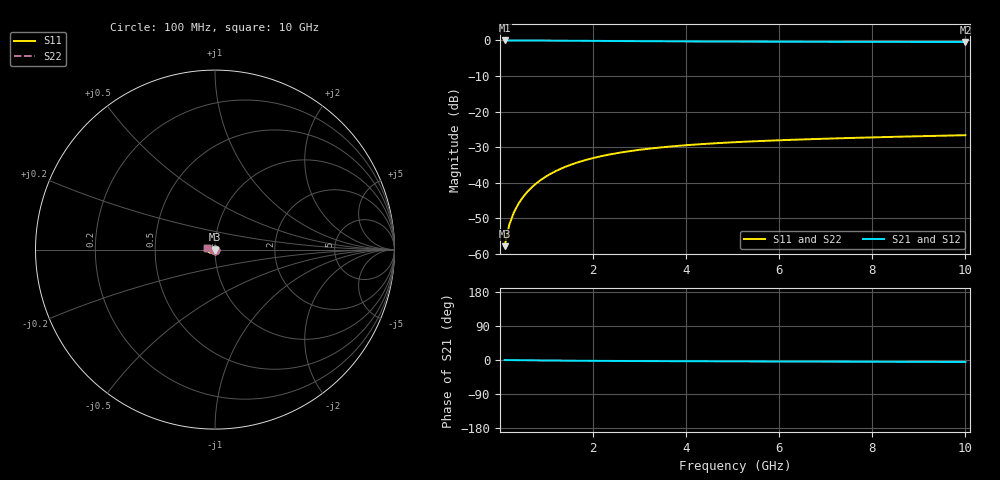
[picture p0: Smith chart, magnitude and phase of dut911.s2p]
! Touchstone file exported from HFSS 2024.1.0
!  File:  C:/UserFiles/LocalFiles/RDL_TSV_Batchsim/temp_TSV1_911_1779945129.aedt
!  Generated:  01:19:01 PM May 28, 2026
!  Design:  TSV1
!  Project:  temp_TSV1_911_1779945129
!  Setup:  Setup1
!  Solution:  Sweep
! Variables:
!  dtsv = 11.09um
!  hbump = 3um
!  htsv = 80.21um
!  lrdl = 252.1521522um
!  p = 40
!  p1 = 58.6um
!  t = 500um
!  trdl = 3um
!  wrdl = 24.89489489um
# GHz S MA R 50.000000
! Terminal data exported
! Port[1] = TSV22_T1
! Port[2] = TSV22_T2
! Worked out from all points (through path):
!   100 points, 100 MHz to 10 GHz, reference 50 ohm
!   highest |S21| = 0.00 dB at 100 MHz (marker M1); lowest = -0.4 dB at 10 GHz (marker M2)
!   lowest |S11| = -57.8 dB at 100 MHz (marker M3), VSWR 1.00, Z = 50 - j0.129 ohm
!   |S11| at or under -10 dB: start of sweep to end of sweep
!   |S22| runs from -57.8 to -26.6 dB; largest |S21 - S12| = 7e-15
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0.1  0.001289 -86.9  0.9998 -0.1  0.9998 -0.1  0.001289 -86.9
! Gamma 0 0 0 0
! Port Impedance 50 0 50 0
0.2  0.00257 -91.3  0.9997 -0.3  0.9997 -0.3  0.00257 -91.3
0.3  0.00385 -94.2  0.9994 -0.4  0.9994 -0.4  0.00385 -94.2
0.4  0.005123 -96.6  0.9991 -0.5  0.9991 -0.5  0.005123 -96.6
0.5  0.006385 -98.9  0.9987 -0.7  0.9987 -0.7  0.006385 -98.9
0.6  0.007632 -101.1  0.9982 -0.8  0.9982 -0.8  0.007632 -101.1
0.7  0.00886 -103.2  0.9976 -0.9  0.9976 -0.9  0.00886 -103.2
0.8  0.01007 -105.2  0.997 -1.0  0.997 -1.0  0.01007 -105.2
0.9  0.01125 -107.3  0.9963 -1.1  0.9963 -1.1  0.01125 -107.3
1.1  0.01353 -111.2  0.9948 -1.4  0.9948 -1.4  0.01353 -111.2
1.4  0.01673 -116.8  0.9921 -1.7  0.9921 -1.7  0.01673 -116.8
1.6  0.0187 -120.4  0.9902 -1.9  0.9902 -1.9  0.0187 -120.4
1.8  0.02054 -123.8  0.9883 -2.0  0.9883 -2.0  0.02054 -123.8
2.1  0.02307 -128.6  0.9854 -2.3  0.9854 -2.3  0.02307 -128.6
2.5  0.02601 -134.5  0.9815 -2.5  0.9815 -2.5  0.02601 -134.5
2.9  0.02853 -139.9  0.978 -2.7  0.978 -2.7  0.02852 -139.9
3.4  0.03117 -145.9  0.9739 -3.0  0.9739 -3.0  0.03117 -145.9
4.2  0.0345 -154.2  0.9686 -3.3  0.9686 -3.3  0.0345 -154.2
5.1  0.03736 -162.2  0.9639 -3.6  0.9639 -3.6  0.03736 -162.2
6.7  0.04109 -173.6  0.9581 -4.2  0.9581 -4.2  0.04109 -173.6
8.4  0.04416 176.7  0.9542 -4.7  0.9542 -4.7  0.04415 176.7
10  0.04668 169.0  0.9517 -5.3  0.9517 -5.3  0.04668 169.0
